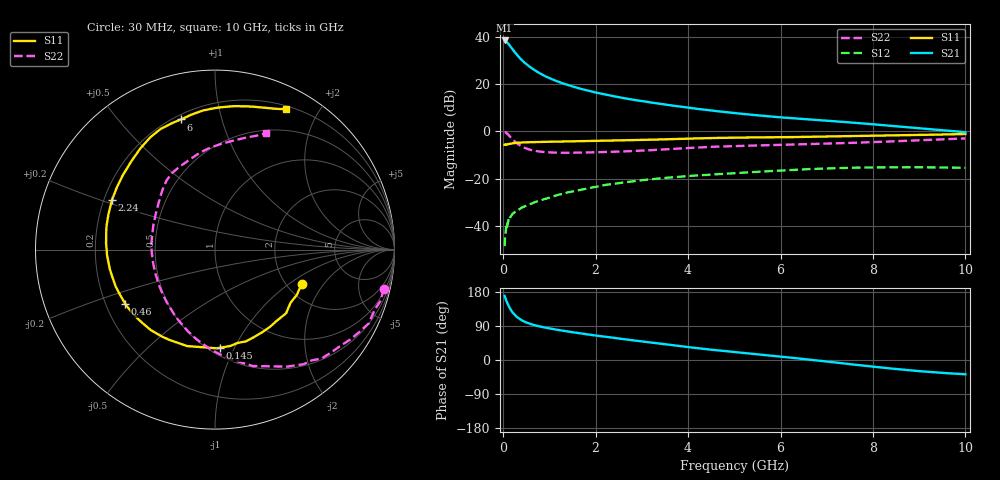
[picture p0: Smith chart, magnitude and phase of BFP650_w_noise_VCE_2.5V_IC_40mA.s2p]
! Infineon Technologies  Discrete & RF Semiconductors
! BFP650
! VCE =  2.5 V,  IC =  40 mA
! Common Emitter S-Parameters:  Jan 2016
# GHz  S  MA  R  50
!  f  S11  S21  S12  S22
! GHz  MAG  ANG  MAG  ANG  MAG  ANG  MAG  ANG
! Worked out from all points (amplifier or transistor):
!   229 points, 30 MHz to 10 GHz, reference 50 ohm
!   highest |S21| = 38.5 dB at 30 MHz (marker M1)
!   |S21| within 3 dB of that: start of sweep to 173.3 MHz
!   unconditionally stable (mu >= 1): 1.979 GHz to end of sweep
!   at 280 MHz: K = 0.39, MSG = 33.4 dB, |S12| = -34.0 dB
!   at 1.78 GHz: K = 0.98, MSG = 20.9 dB, |S12| = -24.3 dB
!   at 10 GHz: K = 1.03, MAG = 6.4 dB, |S12| = -15.4 dB
!   lowest NFmin = 0.87 dB at 450 MHz
!   S11 on the Smith chart (normalised r, x): 30 MHz: 2.40, -1.26; 145 MHz: 0.56, -0.88; 460 MHz: 0.28, -0.26; 2.24 GHz: 0.23, +0.22; 6 GHz: 0.23, +0.75; 10 GHz: 0.24, +1.60
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0.03  0.52 -21.6  84.06 169.1  0.0037 82.0  0.965 -13.0
0.05  0.5147 -35.1  81.76 161.8  0.0067 105.2  0.9503 -20.8
0.06  0.5316 -41.8  81.23 159.0  0.0087 94.5  0.9505 -25.6
0.08  0.5282 -54.5  77.71 152.6  0.0084 72.4  0.9038 -33.7
0.11  0.5397 -71.4  71.97 144.3  0.0124 66.7  0.8496 -45.5
0.145  0.5475 -87.1  64.84 136.2  0.0148 61.4  0.7757 -56.7
0.2  0.5594 -106.1  54.94 125.7  0.0177 56.1  0.682 -72.0
0.26  0.5671 -120.9  46.2 117.5  0.0197 50.8  0.5985 -85.0
0.3  0.5736 -128.5  41.33 113.0  0.0203 48.7  0.5559 -92.7
0.36  0.5771 -137.7  35.56 107.8  0.0229 49.6  0.5054 -102.6
0.46  0.5842 -148.8  28.6 101.2  0.0256 48.7  0.4479 -115.9
0.7  0.5921 -165.0  19.07 91.1  0.0321 49.6  0.384 -139.0
0.9  0.5982 -173.6  14.85 85.7  0.0369 50.8  0.3622 -152.5
1.22  0.6079 176.4  10.97 78.6  0.0459 50.5  0.3525 -167.9
1.7  0.6211 164.9  7.851 69.8  0.0586 48.7  0.3545 175.9
2.24  0.637 154.4  5.919 60.9  0.0739 45.2  0.3646 162.1
3.4  0.673 135.1  3.815 43.1  0.1011 34.3  0.4095 139.9
5.1  0.7379 113.3  2.382 19.8  0.1323 18.2  0.4909 118.3
6  0.7493 104.6  1.978 8.8  0.1478 10.0  0.5165 107.2
6.8  0.7709 97.1  1.739 -1.2  0.161 1.8  0.5434 99.5
8.4  0.8174 77.6  1.305 -22.6  0.173 -15.5  0.6121 81.2
10  0.8772 63.2  0.958 -37.6  0.1694 -27.9  0.7079 66.5
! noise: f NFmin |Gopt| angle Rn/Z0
0.45  0.87  0.11  163  1.38
0.9  0.89  0.36  -170  0.07
1.9  1.03  0.4  -155  0.06
2.4  1.11  0.4  -145  0.07
3.5  1.31  0.43  -122  0.13
